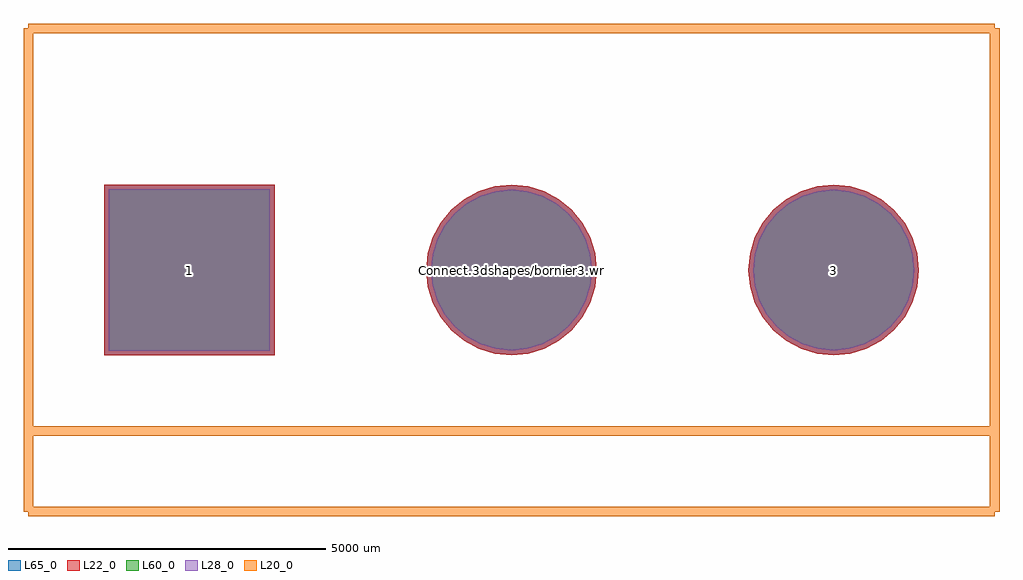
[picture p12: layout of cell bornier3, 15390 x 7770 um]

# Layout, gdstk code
import gdstk
lib = gdstk.Library(unit=1e-6, precision=1e-09)
def R(c, l, rs):  # rectangles x0, y0, x1, y1
    for r in rs: c.add(gdstk.rectangle(r[:2], r[2:], *l))
def P(c, l, *ps):  # polygons
    for p in ps: c.add(gdstk.Polygon(p, *l))
L20_0 = (20, 0)
L22_0 = (22, 0)
L28_0 = (28, 0)
L60_0 = (60, 0)
L65_0 = (65, 0)

bornier3 = lib.new_cell('bornier3')
R(bornier3, L22_0, [(-6425,-1345,-3735,1345)])
P(bornier3, L22_0, [(6425,0),(6399.156,262.396),(6322.618,514.709),(6198.327,747.242),(6031.059,951.059),(5827.242,1118.327),(5594.709,1242.618),(5342.396,1319.156),(5080,1345),(4817.604,1319.156),(4565.291,1242.618),(4332.758,1118.327),(4128.941,951.059),(3961.673,747.242),(3837.382,514.709),(3760.844,262.396),(3735,0),(3760.844,-262.396),(3837.382,-514.709),(3961.673,-747.242),(4128.941,-951.059),(4332.758,-1118.327),(4565.291,-1242.618),(4817.604,-1319.156),(5080,-1345),(5342.396,-1319.156),(5594.709,-1242.618),(5827.242,-1118.327),(6031.059,-951.059),(6198.327,-747.242),(6322.618,-514.709),(6399.156,-262.396)],
  [(1345,0),(1319.156,262.396),(1242.618,514.709),(1118.327,747.242),(951.059,951.059),(747.242,1118.327),(514.709,1242.618),(262.396,1319.156),(0,1345),(-262.396,1319.156),(-514.709,1242.618),(-747.242,1118.327),(-951.059,951.059),(-1118.327,747.242),(-1242.618,514.709),(-1319.156,262.396),(-1345,0),(-1319.156,-262.396),(-1242.618,-514.709),(-1118.327,-747.242),(-951.059,-951.059),(-747.242,-1118.327),(-514.709,-1242.618),(-262.396,-1319.156),(0,-1345),(262.396,-1319.156),(514.709,-1242.618),(747.242,-1118.327),(951.059,-951.059),(1118.327,-747.242),(1242.618,-514.709),(1319.156,-262.396)])
R(bornier3, L28_0, [(-6350,-1270,-3810,1270)])
P(bornier3, L28_0, [(6350,0),(6325.597,247.765),(6253.327,486.008),(6135.966,705.574),(5978.026,898.026),(5785.574,1055.966),(5566.008,1173.327),(5327.765,1245.597),(5080,1270),(4832.235,1245.597),(4593.992,1173.327),(4374.426,1055.966),(4181.974,898.026),(4024.034,705.574),(3906.673,486.008),(3834.403,247.765),(3810,0),(3834.403,-247.765),(3906.673,-486.008),(4024.034,-705.574),(4181.974,-898.026),(4374.426,-1055.966),(4593.992,-1173.327),(4832.235,-1245.597),(5080,-1270),(5327.765,-1245.597),(5566.008,-1173.327),(5785.574,-1055.966),(5978.026,-898.026),(6135.966,-705.574),(6253.327,-486.008),(6325.597,-247.765)],
  [(1270,0),(1245.597,247.765),(1173.327,486.008),(1055.966,705.574),(898.026,898.026),(705.574,1055.966),(486.008,1173.327),(247.765,1245.597),(0,1270),(-247.765,1245.597),(-486.008,1173.327),(-705.574,1055.966),(-898.026,898.026),(-1055.966,705.574),(-1173.327,486.008),(-1245.597,247.765),(-1270,0),(-1245.597,-247.765),(-1173.327,-486.008),(-1055.966,-705.574),(-898.026,-898.026),(-705.574,-1055.966),(-486.008,-1173.327),(-247.765,-1245.597),(0,-1270),(247.765,-1245.597),(486.008,-1173.327),(705.574,-1055.966),(898.026,-898.026),(1055.966,-705.574),(1173.327,-486.008),(1245.597,-247.765)])
R(bornier3, L60_0, [(-6350,-1270,-3810,1270)])
P(bornier3, L60_0, [(6350,0),(6325.597,247.765),(6253.327,486.008),(6135.966,705.574),(5978.026,898.026),(5785.574,1055.966),(5566.008,1173.327),(5327.765,1245.597),(5080,1270),(4832.235,1245.597),(4593.992,1173.327),(4374.426,1055.966),(4181.974,898.026),(4024.034,705.574),(3906.673,486.008),(3834.403,247.765),(3810,0),(3834.403,-247.765),(3906.673,-486.008),(4024.034,-705.574),(4181.974,-898.026),(4374.426,-1055.966),(4593.992,-1173.327),(4832.235,-1245.597),(5080,-1270),(5327.765,-1245.597),(5566.008,-1173.327),(5785.574,-1055.966),(5978.026,-898.026),(6135.966,-705.574),(6253.327,-486.008),(6325.597,-247.765)],
  [(1270,0),(1245.597,247.765),(1173.327,486.008),(1055.966,705.574),(898.026,898.026),(705.574,1055.966),(486.008,1173.327),(247.765,1245.597),(0,1270),(-247.765,1245.597),(-486.008,1173.327),(-705.574,1055.966),(-898.026,898.026),(-1055.966,705.574),(-1173.327,486.008),(-1245.597,247.765),(-1270,0),(-1245.597,-247.765),(-1173.327,-486.008),(-1055.966,-705.574),(-898.026,-898.026),(-705.574,-1055.966),(-486.008,-1173.327),(-247.765,-1245.597),(0,-1270),(247.765,-1245.597),(486.008,-1173.327),(705.574,-1055.966),(898.026,-898.026),(1055.966,-705.574),(1173.327,-486.008),(1245.597,-247.765)])
R(bornier3, L65_0, [(-6425,-1345,-3735,1345)])
P(bornier3, L65_0, [(6425,0),(6399.156,262.396),(6322.618,514.709),(6198.327,747.242),(6031.059,951.059),(5827.242,1118.327),(5594.709,1242.618),(5342.396,1319.156),(5080,1345),(4817.604,1319.156),(4565.291,1242.618),(4332.758,1118.327),(4128.941,951.059),(3961.673,747.242),(3837.382,514.709),(3760.844,262.396),(3735,0),(3760.844,-262.396),(3837.382,-514.709),(3961.673,-747.242),(4128.941,-951.059),(4332.758,-1118.327),(4565.291,-1242.618),(4817.604,-1319.156),(5080,-1345),(5342.396,-1319.156),(5594.709,-1242.618),(5827.242,-1118.327),(6031.059,-951.059),(6198.327,-747.242),(6322.618,-514.709),(6399.156,-262.396)],
  [(1345,0),(1319.156,262.396),(1242.618,514.709),(1118.327,747.242),(951.059,951.059),(747.242,1118.327),(514.709,1242.618),(262.396,1319.156),(0,1345),(-262.396,1319.156),(-514.709,1242.618),(-747.242,1118.327),(-951.059,951.059),(-1118.327,747.242),(-1242.618,514.709),(-1319.156,262.396),(-1345,0),(-1319.156,-262.396),(-1242.618,-514.709),(-1118.327,-747.242),(-951.059,-951.059),(-747.242,-1118.327),(-514.709,-1242.618),(-262.396,-1319.156),(0,-1345),(262.396,-1319.156),(514.709,-1242.618),(747.242,-1118.327),(951.059,-951.059),(1118.327,-747.242),(1242.618,-514.709),(1319.156,-262.396)])
bornier3.add(gdstk.FlexPath([(-7620,-3810),(7620,-3810)], 149.998, ends="flush", simple_path=True, layer=20, datatype=0))  # L20_0
bornier3.add(gdstk.FlexPath([(-7620,3810),(7620,3810)], 149.998, ends="flush", simple_path=True, layer=20, datatype=0))  # L20_0
bornier3.add(gdstk.FlexPath([(-7620,-2540),(7620,-2540)], 149.998, ends="flush", simple_path=True, layer=20, datatype=0))  # L20_0
bornier3.add(gdstk.FlexPath([(7620,-3810),(7620,3810)], 149.998, ends="flush", simple_path=True, layer=20, datatype=0))  # L20_0
bornier3.add(gdstk.FlexPath([(-7620,-3810),(-7620,3810)], 149.998, ends="flush", simple_path=True, layer=20, datatype=0))  # L20_0
bornier3.add(gdstk.Label('Connect.3dshapes/bornier3.wrl', (0,0), layer=12, texttype=0))
bornier3.add(gdstk.Label('3', (5080,0), layer=28, texttype=0))
bornier3.add(gdstk.Label('2', (0,0), layer=28, texttype=0))
bornier3.add(gdstk.Label('1', (-5080,0), layer=28, texttype=0))
bornier3.add(gdstk.Label('type', (0,-5080), layer=9, texttype=0))
bornier3.add(gdstk.Label('devicename', (0,5080), layer=9, texttype=0))

lib.write_gds('bornier3.gds')
